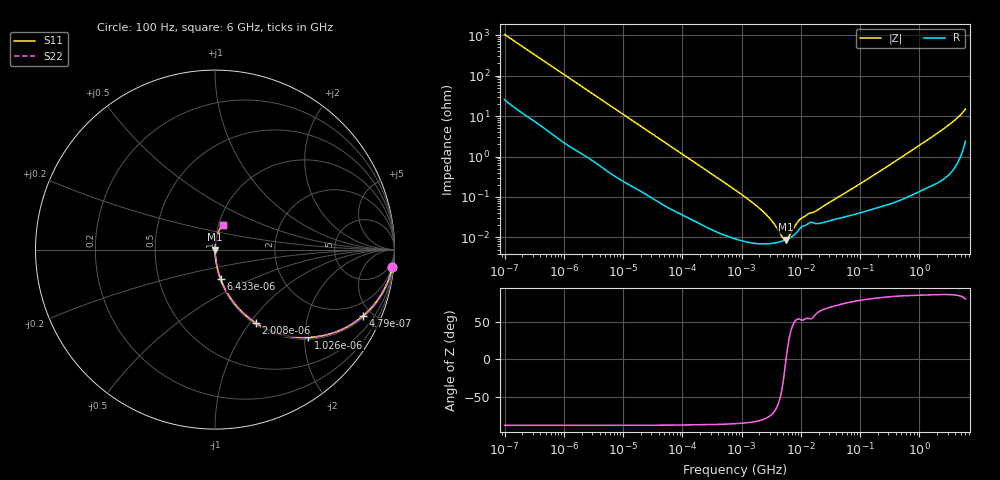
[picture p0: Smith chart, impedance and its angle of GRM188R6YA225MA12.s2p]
!Murata Part Number: GRM188R6YA225MA12
!These Parameters are Measured in Series Mode Connection
!Data Generated on Mar 30, 2021
!  o--ll--o
!Port1  Port2
!  o------o
!Operation Temp=25[degC], DC Bias Voltage=0[V]
!Freq. Start=100[Hz] Stop=6[GHz] 401[Steps]
# Hz S RI R 50
!Freq.(Hz) S11(Real) S11(Imag) S21(Real) S21(Imag) S12(Real) S12(Imag) S22(Real) S22(Imag)
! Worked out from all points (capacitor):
!   401 points, 100 Hz to 6 GHz, reference 50 ohm
!   read as one part in series: C = 1.53 uF near 109 Hz
!   lowest |Z| = 8.74 mohm at 5.555 MHz (marker M1)
!   series resonance near 5.641 MHz, so ESL is about 520 pH
!   S11 on the Smith chart (normalised r, x): 100 Hz: 2, -21; 479 Hz: 1.10, -4.41; 1.026 kHz: 1.04, -2.08; 2.008 kHz: 1.02, -1.07; 6.433 kHz: 1.01, -0.34; 6 GHz: 1.05, +0.29
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100  0.9885 -0.0951  0.0115 0.0951  0.0115 0.0951  0.9885 -0.0951
245  0.9438 -0.2193  0.0562 0.2193  0.0562 0.2193  0.9438 -0.2193
479  0.8244 -0.3697  0.1756 0.3697  0.1756 0.3697  0.8244 -0.3697
750  0.665 -0.4617  0.335 0.4617  0.335 0.4617  0.665 -0.4617
1026  0.5197 -0.4894  0.4803 0.4894  0.4803 0.4894  0.5197 -0.4894
2008  0.2283 -0.409  0.7717 0.409  0.7717 0.409  0.2283 -0.409
3437  0.0959 -0.2836  0.9041 0.2836  0.9041 0.2836  0.0959 -0.2836
6433  0.0315 -0.1642  0.9685 0.1642  0.9685 0.1642  0.0315 -0.1642
14402  0.00762 -0.076  0.9924 0.076  0.9924 0.076  0.00762 -0.076
40335  0.00151 -0.0278  0.9985 0.0278  0.9985 0.0278  0.00151 -0.0278
774597  9.48e-05 -0.0015  0.9999 0.0015  0.9999 0.0015  9.48e-05 -0.0015
2268635  6.94e-05 -0.000442  0.9999 0.000442  0.9999 0.000442  6.94e-05 -0.000442
3245845  7.12e-05 -0.000246  0.9999 0.000246  0.9999 0.000246  7.12e-05 -0.000246
4643984  7.94e-05 -8.27e-05  0.9999 8.27e-05  0.9999 8.27e-05  7.94e-05 -8.27e-05
5554849  8.72e-05 -6.4e-06  0.9999 6.4e-06  0.9999 6.4e-06  8.72e-05 -6.4e-06
6353432  9.58e-05 5.04e-05  0.9999 -5.04e-05  0.9999 -5.04e-05  9.58e-05 5.04e-05
9506416  0.000162 0.00022  0.9998 -0.00022  0.9998 -0.00022  0.000162 0.00022
1.555665e7  0.000235 0.000336  0.9998 -0.000336  0.9998 -0.000336  0.000235 0.000336
3.124326e8  0.0007 0.00609  0.9993 -0.00609  0.9993 -0.00609  0.0007 0.00609
2.450438e9  0.00471 0.0456  0.9953 -0.0456  0.9953 -0.0456  0.00471 0.0456
4.009986e9  0.0117 0.0787  0.9883 -0.0787  0.9883 -0.0787  0.0117 0.0787
6e9  0.0433 0.1377  0.9567 -0.1377  0.9567 -0.1377  0.0433 0.1377
